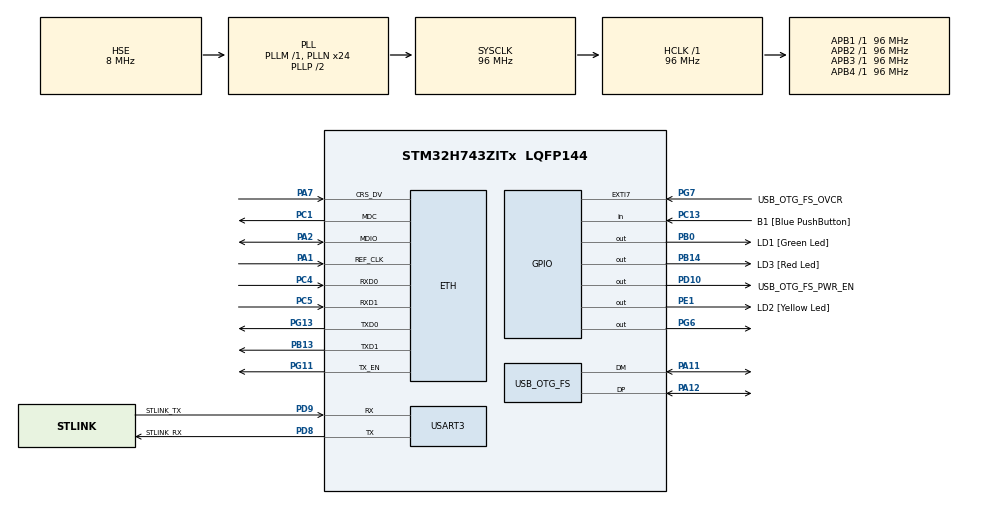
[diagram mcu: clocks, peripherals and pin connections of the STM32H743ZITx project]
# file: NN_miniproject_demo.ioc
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ETH.MediaInterface=HAL_ETH_RMII_MODE
Mcu.Family=STM32H7
Mcu.Name=STM32H743ZITx
Mcu.Package=LQFP144
NVIC.OTG_FS_IRQn=true\:0\:0\:false\:false\:true\:true\:true
NVIC.PriorityGroup=NVIC_PRIORITYGROUP_4
PA1.Mode=RMII
PA1.Signal=ETH_REF_CLK
PA11.GPIO_Speed=GPIO_SPEED_FREQ_VERY_HIGH
PA11.Mode=Host_Only
PA11.Signal=USB_OTG_FS_DM
PA12.GPIO_Speed=GPIO_SPEED_FREQ_VERY_HIGH
PA12.Mode=Host_Only
PA12.Signal=USB_OTG_FS_DP
PA2.Mode=RMII
PA2.Signal=ETH_MDIO
PA7.Mode=RMII
PA7.Signal=ETH_CRS_DV
PA8.Signal=USB_OTG_FS_SOF
PA9.Signal=USB_OTG_FS_VBUS
PB0.GPIO_Label=LD1 [Green Led]
PB0.Signal=GPIO_Output
PB13.Mode=RMII
PB13.Signal=ETH_TXD1
PB14.GPIO_Label=LD3 [Red Led]
PB14.Signal=GPIO_Output
PC1.Mode=RMII
PC1.Signal=ETH_MDC
PC13.GPIO_Label=B1 [Blue PushButton]
PC13.Signal=GPIO_Input
PC14-OSC32_IN\ (OSC32_IN).Mode=LSE-External-Oscillator
PC14-OSC32_IN\ (OSC32_IN).Signal=RCC_OSC32_IN
PC15-OSC32_OUT\ (OSC32_OUT).Mode=LSE-External-Oscillator
PC15-OSC32_OUT\ (OSC32_OUT).Signal=RCC_OSC32_OUT
PC4.Mode=RMII
PC4.Signal=ETH_RXD0
PC5.Mode=RMII
PC5.Signal=ETH_RXD1
PD10.GPIO_Label=USB_OTG_FS_PWR_EN
PD10.Signal=GPIO_Output
PD8.GPIO_Label=STLINK_RX
PD8.Mode=Asynchronous
PD8.Signal=USART3_TX
PD9.GPIO_Label=STLINK_TX
PD9.Mode=Asynchronous
PD9.Signal=USART3_RX
PE1.GPIO_Label=LD2 [Yellow Led]
PE1.Signal=GPIO_Output
PG11.Mode=RMII
PG11.Signal=ETH_TX_EN
PG13.Mode=RMII
PG13.Signal=ETH_TXD0
PG6.Signal=GPIO_Output
PG7.GPIO_Label=USB_OTG_FS_OVCR
PG7.Signal=GPXTI7
PH0-OSC_IN\ (PH0).Mode=HSE-External-Clock-Source
PH0-OSC_IN\ (PH0).Signal=RCC_OSC_IN
PH1-OSC_OUT\ (PH1).Signal=RCC_OSC_OUT
ProjectManager.HeapSize=0x128000
ProjectManager.StackSize=0x12000
ProjectManager.TargetToolchain=STM32CubeIDE
RCC.ADCFreq_Value=16125000
RCC.APB1Freq_Value=96000000
RCC.APB2Freq_Value=96000000
RCC.APB3Freq_Value=96000000
RCC.APB4Freq_Value=96000000
RCC.CortexFreq_Value=96000000
RCC.DIVM1=1
RCC.DIVN1=24
RCC.DIVQ1=4
RCC.HCLKFreq_Value=96000000
RCC.HSE_VALUE=8000000
RCC.PLLFRACN=0
RCC.SYSCLKFreq_VALUE=96000000
RCC.SYSCLKSource=RCC_SYSCLKSOURCE_PLLCLK
RCC.USBFreq_Value=48000000
USART3.VirtualMode-Asynchronous=VM_ASYNC
USB_HOST.BSP.number=1
USB_HOST.USBH_HandleTypeDef-MSC_FS=hUsbHostFS
USB_HOST.VirtualModeFS=Msc
USB_HOST0.BSP.STBoard=false
USB_HOST0.BSP.api=Unknown
USB_HOST0.BSP.i2caddr=0
USB_HOST0.BSP.instance=PG6
USB_HOST0.BSP.ip=GPIO
USB_HOST0.BSP.mode=Output
USB_HOST0.BSP.name=Drive_VBUS_FS
USB_HOST0.BSP.solution=PG6
USB_OTG_FS.VirtualMode=Host_Only
USB_OTG_FS.phy_itface=HCD_PHY_EMBEDDED
VP_FATFS_VS_USB.Mode=USB
VP_USB_HOST_VS_USB_HOST_MSC_FS.Mode=MSC_FS
board=NUCLEO-H743ZI2

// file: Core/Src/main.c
/* USER CODE BEGIN Header */
/**
  ******************************************************************************
  * @file           : main.c
  * @brief          : Main program body
  ******************************************************************************
  * @attention
  *
  * <h2><center>&copy; Copyright (c) 2020 STMicroelectronics.
  * All rights reserved.</center></h2>
  *
  * This software component is licensed by ST under BSD 3-Clause license,
  * the "License"; You may not use this file except in compliance with the
  * License. You may obtain a copy of the License at:
  *                        opensource.org/licenses/BSD-3-Clause
  *
  ******************************************************************************
  */
/* USER CODE END Header */
#include "main.h"
#include "string.h"
#include "fatfs.h"
#include "usb_host.h"

#if defined ( __ICCARM__ ) /*!< IAR Compiler */

#pragma location=0x30040000
ETH_DMADescTypeDef  DMARxDscrTab[ETH_RX_DESC_CNT]; /* Ethernet Rx DMA Descriptors */
#pragma location=0x30040060
ETH_DMADescTypeDef  DMATxDscrTab[ETH_TX_DESC_CNT]; /* Ethernet Tx DMA Descriptors */
#pragma location=0x30040200
uint8_t Rx_Buff[ETH_RX_DESC_CNT][ETH_MAX_PACKET_SIZE]; /* Ethernet Receive Buffers */

#elif defined ( __CC_ARM )  /* MDK ARM Compiler */

__attribute__((at(0x30040000))) ETH_DMADescTypeDef  DMARxDscrTab[ETH_RX_DESC_CNT]; /* Ethernet Rx DMA Descriptors */
__attribute__((at(0x30040060))) ETH_DMADescTypeDef  DMATxDscrTab[ETH_TX_DESC_CNT]; /* Ethernet Tx DMA Descriptors */
__attribute__((at(0x30040200))) uint8_t Rx_Buff[ETH_RX_DESC_CNT][ETH_MAX_PACKET_SIZE]; /* Ethernet Receive Buffer */

#elif defined ( __GNUC__ ) /* GNU Compiler */

ETH_DMADescTypeDef DMARxDscrTab[ETH_RX_DESC_CNT] __attribute__((section(".RxDecripSection"))); /* Ethernet Rx DMA Descriptors */
ETH_DMADescTypeDef DMATxDscrTab[ETH_TX_DESC_CNT] __attribute__((section(".TxDecripSection")));   /* Ethernet Tx DMA Descriptors */
uint8_t Rx_Buff[ETH_RX_DESC_CNT][ETH_MAX_PACKET_SIZE] __attribute__((section(".RxArraySection"))); /* Ethernet Receive Buffers */

#endif

ETH_TxPacketConfig TxConfig;

ETH_HandleTypeDef heth;

UART_HandleTypeDef huart3;

void SystemClock_Config(void);
static void MX_GPIO_Init(void);
static void MX_ETH_Init(void);
static void MX_USART3_UART_Init(void);
void MX_USB_HOST_Process(void);

/* USER CODE BEGIN 0 */
#include "cnn.h"
int file_ready = 0;
extern uint8_t rtext[8500]; // 32900 // 8500 //4000
extern uint8_t name[10];
float * out_img;
/* USER CODE END 0 */

int main(void)
{

  /* MCU Configuration--------------------------------------------------------*/

  /* Reset of all peripherals, Initializes the Flash interface and the Systick. */
  HAL_Init();

  /* Configure the system clock */
  SystemClock_Config();

  /* Initialize all configured peripherals */
  MX_GPIO_Init();
  MX_ETH_Init();
  MX_USART3_UART_Init();
  MX_FATFS_Init();
  MX_USB_HOST_Init();

  /* Infinite loop */
  while (1)
  {
    MX_USB_HOST_Process();

    /* USER CODE BEGIN 3 */
	sprintf(name,"test4.bmp"); //test4.bmp
    file_ready = 0;
    read_bmp(name);
    if(file_ready == 1){
		out_img = ProcessBmp(rtext);
		file_ready = 0;
	    break;
    }
  }

  int iHeight = rtext[22];
    int iWidth = rtext[18];
    int iChannel = 3;
    int pixelStart = rtext[10];

  	// allocate 3d for input
  	float*** input = (float***)malloc(iHeight * sizeof(float**));
  	for (int i = 0; i < iHeight; i++) {
  	  input[i] = (float**)malloc(iWidth * sizeof(float*));
  	}
  	for (int i = 0; i < iHeight; i++) {
  	  for (int j = 0; j < iWidth; j++) {
  		  input[i][j] = (float*)malloc(3 * sizeof(float));
  	  }
  	}

  	// set input[][][] values based on out_img

  	for(int k=0; k<3; k++) {
  	  for (int i = 0; i < iHeight; i++) {
  		  for (int j = 0; j < iWidth; j++) {
  			  int iIdx = (iHeight - 1) - i;
  			  int kIdx = (iChannel - 1) - k;
  			  input[i][j][k] = out_img[(((iIdx*iWidth)+j)*iChannel)+kIdx]/255.0;// ((i*iWidth+j)*iChannel)+k]; // /255.0
  		  }
  	   }
  	}

//  	free(out_img);

	float var1 = input[0][0][0];
	float var2 = input[0][1][0];
	float var3 = input[0][2][0];
	float var4 = input[1][0][0];
	float var5 = input[1][1][0];
	float var6 = input[1][2][0];
	float var7 = input[2][0][0];
	float var8 = input[2][1][0];
	float var9 = input[2][2][0];

	float var10 = out_img[0];
	float var20 = out_img[1];
	float var30 = out_img[2];
	float var40 = out_img[57];
	float var50 = out_img[58];
	float var60 = out_img[59];
	float var70 = out_img[6];
	float var80 = out_img[7];
	float var90 = out_img[8];

      /////////////////////////////////////////////////////////// e_conv1
      // read in parameters
      sprintf(name,"b1.txt");
      float * b1 = read_txt(name, 3);

      sprintf(name,"w1.txt");
      float * nw1 = read_txt(name, 9);

      int kDim = 1;
      int iDim = 3;
      int oDim = 3;
      int pSize = 0;

      // allocate 4d w1
      float**** w1 = (float****)malloc(kDim * sizeof(float***));
      for (int i = 0; i < kDim; i++) {
    	  w1[i] = (float***)malloc(kDim * sizeof(float**));
      }
      for (int i = 0; i < kDim; i++) {
    	  for (int j = 0; j < kDim; j++) {
    		  w1[i][j] = (float**)malloc(iDim * sizeof(float*));
    	  }
      }
      for (int i = 0; i < kDim; i++) {
      	  for (int j = 0; j < kDim; j++) {
      		  for(int k = 0; k < iDim; k++) {
      			  w1[i][j][k] = (float*)malloc(oDim * sizeof(float));
      		  }
      	  }
      }

      for (int j = 0; j < oDim; j++) {
    	  for (int i = 0; i < iDim; i++) {
    		  w1[0][0][i][j] = nw1[(j*3)+i];
    	  }
      }

      free(nw1);

      // allocate 3d x1
      float*** x1 = (float***)malloc(iHeight * sizeof(float**));
      for (int i = 0; i < iHeight; i++) {
    	  x1[i] = (float**)malloc(iWidth * sizeof(float*));
      }
      for (int i = 0; i < iHeight; i++) {
    	  for (int j = 0; j < iWidth; j++) {
    		  x1[i][j] = (float*)malloc(oDim * sizeof(float));
    	  }
      }

      conv(input, w1, b1, x1, iHeight, iWidth, kDim, iDim, oDim, pSize);

      // free(w1);
      for (int i = 0; i < kDim; i++) {
      	for (int j = 0; j < kDim; j++) {
      		  for(int k = 0; k < iDim; k++) {
      			  free(w1[i][j][k]);
      		  }
  		}
      }
      for (int i = 0; i < kDim; i++) {
    	  for (int j = 0; j < kDim; j++) {
    		  free(w1[i][j]);
    	  }
      }
      for (int i = 0; i < kDim; i++) {
      	free(w1[i]);
      }
      free(w1);

      free(b1);

      //free(input);
      for (int i = 0; i < iHeight; i++) {
    	  for (int j = 0; j < iWidth; j++) {
    		free(input[i][j]);
    	  }
      }
      for (int i = 0; i < iHeight; i++) {
      	free(input[i]);
      }
      free(input);

      /////////////////////////////////////////////////////////// e_conv2
      sprintf(name,"b2.txt");
      float * b2 = read_txt(name, 3);

      sprintf(name,"w2.txt");
      float * nw2 = read_txt(name, 81);

      kDim = 3;
      iDim = 3;
      oDim = 3;
      pSize = 1;

      // allocate 4d w2
      float**** w2 = (float****)malloc(kDim * sizeof(float***));
      for (int i = 0; i < kDim; i++) {
    	  w2[i] = (float***)malloc(kDim * sizeof(float**));
      }
      for (int i = 0; i < kDim; i++) {
    	  for (int j = 0; j < kDim; j++) {
    		  w2[i][j] = (float**)malloc(iDim * sizeof(float*));
    	  }
      }
      for (int i = 0; i < kDim; i++) {
      	  for (int j = 0; j < kDim; j++) {
      		  for(int k = 0; k < iDim; k++) {
      			  w2[i][j][k] = (float*)malloc(oDim * sizeof(float));
      		  }
      	  }
      }

      for(int i = 0; i < kDim; i++) {
    	  for (int j = 0; j < kDim; j++) {
    		  for (int v = 0; v < oDim; v++) {
    			  for(int u = 0; u < iDim; u++) {
    				  w2[i][j][u][v] = nw2[(i*kDim*oDim*iDim)+(j*oDim*iDim)+(v*iDim)+u];
    			  }
    		  }
    	  }
      }

      free(nw2);

      // allocate 3d x2
      float*** x2 = (float***)malloc(iHeight * sizeof(float**));
      for (int i = 0; i < iHeight; i++) {
    	  x2[i] = (float**)malloc(iWidth * sizeof(float*));
      }
      for (int i = 0; i < iHeight; i++) {
    	  for (int j = 0; j < iWidth; j++) {
    		  x2[i][j] = (float*)malloc(oDim * sizeof(float));
    	  }
      }

      conv(x1, w2, b2, x2, iHeight, iWidth, kDim, iDim, oDim, pSize);

      // free(w2);
      for (int i = 0; i < kDim; i++) {
      	for (int j = 0; j < kDim; j++) {
      		  for(int k = 0; k < iDim; k++) {
      			  free(w2[i][j][k]);
      		  }
  		}
      }
      for (int i = 0; i < kDim; i++) {
    	  for (int j = 0; j < kDim; j++) {
    		  free(w2[i][j]);
    	  }
      }
      for (int i = 0; i < kDim; i++) {
      	free(w2[i]);
      }
      free(w2);

      free(b2);

      /////////////////////////////////////////////////////////// e_conv3
      sprintf(name,"b3.txt");
      float * b3 = read_txt(name, 3);

      sprintf(name,"w3.txt");
      float * nw3 = read_txt(name, 450);

      // allocate 4d w3
      kDim = 5;
      iDim = 6;
      oDim = 3;
      pSize = 2;

      float**** w3 = (float****)malloc(kDim * sizeof(float***));
      for (int i = 0; i < kDim; i++) {
    	  w3[i] = (float***)malloc(kDim * sizeof(float**));
      }
      for (int i = 0; i < kDim; i++) {
    	  for (int j = 0; j < kDim; j++) {
    		  w3[i][j] = (float**)malloc(iDim * sizeof(float*));
    	  }
      }
      for (int i = 0; i < kDim; i++) {
      	  for (int j = 0; j < kDim; j++) {
      		  for(int k = 0; k < iDim; k++) {
      			  w3[i][j][k] = (float*)malloc(oDim * sizeof(float));
      		  }
      	  }
      }
      for(int i = 0; i < kDim; i++) {
    	  for (int j = 0; j < kDim; j++) {
    		  for (int v = 0; v < oDim; v++) {
    			  for(int u = 0; u < iDim; u++) {
    				  w3[i][j][u][v] = nw3[(i*kDim*oDim*iDim)+(j*oDim*iDim)+(v*iDim)+u];
    			  }
    		  }
    	  }
      }
      free(nw3);

      // allocate 3d x1x2
      float*** x1x2 = (float***)malloc(iHeight * sizeof(float**));
      for (int i = 0; i < iHeight; i++) {
    	  x1x2[i] = (float**)malloc(iWidth * sizeof(float*));
      }
      for (int i = 0; i < iHeight; i++) {
    	  for (int j = 0; j < iWidth; j++) {
    		  x1x2[i][j] = (float*)malloc(iDim * sizeof(float));
    	  }
      }

      for(int k=0; k<3; k++) {
    	  for(int i=0; i<iHeight; i++) {
    		  for(int j=0; j<iWidth; j++) {
    			  x1x2[i][j][k] = x1[i][j][k];
    		  }
    	  }
      }

      //free(x1);
  	for (int i = 0; i < iHeight; i++) {
  	  for (int j = 0; j < iWidth; j++) {
  		  free(x1[i][j]);
  	  }
  	}
  	for (int i = 0; i < iHeight; i++) {
  		free(x1[i]);
  	}
      free(x1);

      for(int k=3; k<6; k++) {
    	  for(int i=0; i<iHeight; i++) {
    		  for(int j=0; j<iWidth; j++) {
    			  x1x2[i][j][k] = x2[i][j][k-3];
    		  }
    	  }
      }

      //free(x2);
  	for (int i = 0; i < iHeight; i++) {
  	  for (int j = 0; j < iWidth; j++) {
  		  free(x2[i][j]);
  	  }
  	}
  	for (int i = 0; i < iHeight; i++) {
  		free(x2[i]);
  	}
      free(x2);

      // allocate 3d x3
      float*** x3 = (float***)malloc(iHeight * sizeof(float**));
      for (int i = 0; i < iHeight; i++) {
    	  x3[i] = (float**)malloc(iWidth * sizeof(float*));
      }
      for (int i = 0; i < iHeight; i++) {
    	  for (int j = 0; j < iWidth; j++) {
    		  x3[i][j] = (float*)malloc(oDim * sizeof(float));
    	  }
      }

      conv(x1x2, w3, b3, x3, iHeight, iWidth, kDim, iDim, oDim, pSize);

      //free(w3);
      for (int i = 0; i < kDim; i++) {
      	for (int j = 0; j < kDim; j++) {
      		  for(int k = 0; k < iDim; k++) {
      			  free(w3[i][j][k]);
      		  }
  		}
      }
      for (int i = 0; i < kDim; i++) {
    	  for (int j = 0; j < kDim; j++) {
    		  free(w3[i][j]);
    	  }
      }
      for (int i = 0; i < kDim; i++) {
      	free(w3[i]);
      }
      free(w3);

      free(b3);

      /////////////////////////////////////////////////////////// e_conv4
      sprintf(name,"b4.txt");
      float * b4 = read_txt(name, 3);

      sprintf(name,"w4.txt");
      float * nw4 = read_txt(name, 882);

      // allocate 4d w4
      kDim = 7;
      iDim = 6;
      oDim = 3;
      pSize = 3;

      float**** w4 = (float****)malloc(kDim * sizeof(float***));
      for (int i = 0; i < kDim; i++) {
    	  w4[i] = (float***)malloc(kDim * sizeof(float**));
      }
      for (int i = 0; i < kDim; i++) {
    	  for (int j = 0; j < kDim; j++) {
    		  w4[i][j] = (float**)malloc(iDim * sizeof(float*));
    	  }
      }
      for (int i = 0; i < kDim; i++) {
      	  for (int j = 0; j < kDim; j++) {
      		  for(int k = 0; k < iDim; k++) {
      			  w4[i][j][k] = (float*)malloc(oDim * sizeof(float));
      		  }
      	  }
      }

      for(int i = 0; i < kDim; i++) {
    	  for (int j = 0; j < kDim; j++) {
    		  for (int v = 0; v < oDim; v++) {
    			  for(int u = 0; u < iDim; u++) {
    				  w4[i][j][u][v] = nw4[(i*kDim*oDim*iDim)+(j*oDim*iDim)+(v*iDim)+u];
    			  }
    		  }
    	  }
      }

      free(nw4);

      // allocate 3d x1
      float*** x1V2 = (float***)malloc(iHeight * sizeof(float**));
      for (int i = 0; i < iHeight; i++) {
    	  x1V2[i] = (float**)malloc(iWidth * sizeof(float*));
      }
      for (int i = 0; i < iHeight; i++) {
    	  for (int j = 0; j < iWidth; j++) {
    		  x1V2[i][j] = (float*)malloc(iDim * sizeof(float));
    	  }
      }

      for(int k=0; k<iDim; k++) {
    	  for(int i=0; i<iHeight; i++) {
    		  for(int j=0; j<iWidth; j++) {
    			  x1V2[i][j][k] = x1x2[i][j][k];
    		  }
    	  }
      }

      //////////////////////////////////////////////////////////////////////////////////////////////////////////// 5_1 in place operation
      int kDim_5 = 3;
	  int iDim_5 = 12;
	  int oDim_5 = 3;
	  int pSize_5 = 1;
	  int iDim_w_5 = 3;

	  sprintf(name,"w5_1.txt");
	  float * nw5_1 = read_txt(name, 81);

	  // allocate 4d w5_1
	  float**** w5_1 = (float****)malloc(kDim_5 * sizeof(float***));
	  for (int i = 0; i < kDim_5; i++) {
		  w5_1[i] = (float***)malloc(kDim_5 * sizeof(float**));
	  }
	  for (int i = 0; i < kDim_5; i++) {
		  for (int j = 0; j < kDim_5; j++) {
			  w5_1[i][j] = (float**)malloc(iDim_w_5 * sizeof(float*));
		  }
	  }
	  for (int i = 0; i < kDim_5; i++) {
		  for (int j = 0; j < kDim_5; j++) {
			  for(int k = 0; k < iDim_w_5; k++) {
				  w5_1[i][j][k] = (float*)malloc(oDim_5 * sizeof(float));
			  }
		  }
	  }
	  for(int i = 0; i < kDim_5; i++) {
		  for (int j = 0; j < kDim_5; j++) {
			  for (int v = 0; v < oDim_5; v++) {
				  for(int u = 0; u < iDim_w_5; u++) {
					  w5_1[i][j][u][v] = nw5_1[(i*kDim_5*oDim_5*iDim_w_5)+(j*oDim_5*iDim_w_5)+(v*iDim_w_5)+u];
				  }
			  }
		  }
	  }
	  free(nw5_1);

	  convInPlace(x1V2, w5_1, iHeight, iWidth, kDim_5, iDim_w_5, oDim_5, pSize_5);

	  //free(w5_1);
	  for (int i = 0; i < kDim_5; i++) {
		  for (int j = 0; j < kDim_5; j++) {
			  	  for(int k = 0; k < iDim_w_5; k++) {
	    			  free(w5_1[i][j][k]);
	    		  }
			}
	  }
	  for (int i = 0; i < kDim_5; i++) {
	  	  for (int j = 0; j < kDim_5; j++) {
	  		  free(w5_1[i][j]);
	  	  }
	  }
	  for (int i = 0; i < kDim_5; i++) {
		  free(w5_1[i]);
	  }
	  free(w5_1);
	  ////////////////////////////////////////////////////////////////////////////////////////////////////////////

      // allocate 3d x2x3
      float*** x2x3 = (float***)malloc(iHeight * sizeof(float**));
      for (int i = 0; i < iHeight; i++) {
    	  x2x3[i] = (float**)malloc(iWidth * sizeof(float*));
      }
      for (int i = 0; i < iHeight; i++) {
    	  for (int j = 0; j < iWidth; j++) {
    		  x2x3[i][j] = (float*)malloc(iDim * sizeof(float));
    	  }
      }

      for(int k=0; k<3; k++) {
    	  for(int i=0; i<iHeight; i++) {
    		  for(int j=0; j<iWidth; j++) {
    			  x2x3[i][j][k] = x1x2[i][j][k+3];
    		  }
    	  }
      }

      //free(x1x2);
      for (int i = 0; i < iHeight; i++) {
    	  for (int j = 0; j < iWidth; j++) {
    		free(x1x2[i][j]);
    	  }
      }
      for (int i = 0; i < iHeight; i++) {
      	free(x1x2[i]);
      }
      free(x1x2);

      for(int k=3; k<6; k++) {
    	  for(int i=0; i<iHeight; i++) {
    		  for(int j=0; j<iWidth; j++) {
    			  x2x3[i][j][k] = x3[i][j][k-3];
    		  }
    	  }
      }

	  //////////////////////////////////////////////////////////////////////////////////////////////////////////// 5_3 "Add" operation

	 	  sprintf(name,"w5_3.txt");
	 	  float * nw5_3 = read_txt(name, 81);

	 	  // allocate 4d w5_2
	 	  float**** w5_3 = (float****)malloc(kDim_5 * sizeof(float***));
	 	  for (int i = 0; i < kDim_5; i++) {
	 		 w5_3[i] = (float***)malloc(kDim_5 * sizeof(float**));
	 	  }
	 	  for (int i = 0; i < kDim_5; i++) {
	 		  for (int j = 0; j < kDim_5; j++) {
	 			 w5_3[i][j] = (float**)malloc(iDim_w_5 * sizeof(float*));
	 		  }
	 	  }
	 	  for (int i = 0; i < kDim_5; i++) {
	 		  for (int j = 0; j < kDim_5; j++) {
	 			  for(int k = 0; k < iDim_w_5; k++) {
	 				 w5_3[i][j][k] = (float*)malloc(oDim_5 * sizeof(float));
	 			  }
	 		  }
	 	  }
	 	  for(int i = 0; i < kDim_5; i++) {
	 		  for (int j = 0; j < kDim_5; j++) {
	 			  for (int v = 0; v < oDim_5; v++) {
	 				  for(int u = 0; u < iDim_w_5; u++) {
	 					 w5_3[i][j][u][v] = nw5_3[(i*kDim_5*oDim_5*iDim_w_5)+(j*oDim_5*iDim_w_5)+(v*iDim_w_5)+u];
	 				  }
	 			  }
	 		  }
	 	  }
	 	  free(nw5_3);

	 	  convAdd(x3, w5_3, x1V2, iHeight, iWidth, kDim_5, iDim_w_5, oDim_5, pSize_5);

	      //free(x3);
	      for (int i = 0; i < iHeight; i++) {
	    	  for (int j = 0; j < iWidth; j++) {
	    		free(x3[i][j]);
	    	  }
	      }
	      for (int i = 0; i < iHeight; i++) {
	      	free(x3[i]);
	      }
	      free(x3);

	 	  //free(w5_3);
	 	  for (int i = 0; i < kDim_5; i++) {
	 		  for (int j = 0; j < kDim_5; j++) {
	 			  	  for(int k = 0; k < iDim_w_5; k++) {
	 	    			  free(w5_3[i][j][k]);
	 	    		  }
	 			}
	 	  }
	 	  for (int i = 0; i < kDim_5; i++) {
	 	  	  for (int j = 0; j < kDim_5; j++) {
	 	  		  free(w5_3[i][j]);
	 	  	  }
	 	  }
	 	  for (int i = 0; i < kDim_5; i++) {
	 		  free(w5_3[i]);
	 	  }
	 	  free(w5_3);

	 	  ////////////////////////////////////////////////////////////////////////////////////////////////////////////

      // allocate 3d x4
      float*** x4 = (float***)malloc(iHeight * sizeof(float**));
      for (int i = 0; i < iHeight; i++) {
    	  x4[i] = (float**)malloc(iWidth * sizeof(float*));
      }
      for (int i = 0; i < iHeight; i++) {
    	  for (int j = 0; j < iWidth; j++) {
    		  x4[i][j] = (float*)malloc(oDim * sizeof(float));
    	  }
      }

      conv(x2x3, w4, b4, x4, iHeight, iWidth, kDim, iDim, oDim, pSize);

      // free(w4);
      for (int i = 0; i < kDim; i++) {
      	for (int j = 0; j < kDim; j++) {
      		  for(int k = 0; k < iDim; k++) {
      			  free(w4[i][j][k]);
      		  }
  		}
      }
      for (int i = 0; i < kDim; i++) {
    	  for (int j = 0; j < kDim; j++) {
    		  free(w4[i][j]);
    	  }
      }
      for (int i = 0; i < kDim; i++) {
      	free(w4[i]);
      }
      free(w4);

      free(b4);

      /////////////////////////////////////////////////////////// e_conv5

      //////////////////////////////////////////////////////////////////////////////////////////////////////////// 5_2 "Add" operation

      // allocate 3d x2V2
      float*** x2V2 = (float***)malloc(iHeight * sizeof(float**));
      for (int i = 0; i < iHeight; i++) {
    	  x2V2[i] = (float**)malloc(iWidth * sizeof(float*));
      }
      for (int i = 0; i < iHeight; i++) {
    	  for (int j = 0; j < iWidth; j++) {
    		  x2V2[i][j] = (float*)malloc(oDim * sizeof(float));
    	  }
      }

      for(int k=0; k<oDim; k++) {
    	  for(int i=0; i<iHeight; i++) {
    		  for(int j=0; j<iWidth; j++) {
    			  x2V2[i][j][k] = x2x3[i][j][k];
    		  }
    	  }
      }

      //free x2x3
      for (int i = 0; i < iHeight; i++) {
    	  for (int j = 0; j < iWidth; j++) {
    		free(x2x3[i][j]);
    	  }
      }
      for (int i = 0; i < iHeight; i++) {
      	free(x2x3[i]);
      }
      free(x2x3);

      sprintf(name,"w5_2.txt");
	  float * nw5_2 = read_txt(name, 81);

	  // allocate 4d w5_2
	  float**** w5_2 = (float****)malloc(kDim_5 * sizeof(float***));
	  for (int i = 0; i < kDim_5; i++) {
		  w5_2[i] = (float***)malloc(kDim_5 * sizeof(float**));
	  }
	  for (int i = 0; i < kDim_5; i++) {
		  for (int j = 0; j < kDim_5; j++) {
			  w5_2[i][j] = (float**)malloc(iDim_w_5 * sizeof(float*));
		  }
	  }
	  for (int i = 0; i < kDim_5; i++) {
		  for (int j = 0; j < kDim_5; j++) {
			  for(int k = 0; k < iDim_w_5; k++) {
				  w5_2[i][j][k] = (float*)malloc(oDim_5 * sizeof(float));
			  }
		  }
	  }
	  for(int i = 0; i < kDim_5; i++) {
		  for (int j = 0; j < kDim_5; j++) {
			  for (int v = 0; v < oDim_5; v++) {
				  for(int u = 0; u < iDim_w_5; u++) {
					  w5_2[i][j][u][v] = nw5_2[(i*kDim_5*oDim_5*iDim_w_5)+(j*oDim_5*iDim_w_5)+(v*iDim_w_5)+u];
				  }
			  }
		  }
	  }
	  free(nw5_2);

	  convAdd(x2V2, w5_2, x1V2, iHeight, iWidth, kDim_5, iDim_w_5, oDim_5, pSize_5);

	  //free(x2V2);
	  for (int i = 0; i < iHeight; i++) {
		  for (int j = 0; j < iWidth; j++) {
			free(x2V2[i][j]);
		  }
	  }
	  for (int i = 0; i < iHeight; i++) {
		free(x2V2[i]);
	  }
	  free(x2V2);

	  //free(w5_2);
	  for (int i = 0; i < kDim_5; i++) {
		  for (int j = 0; j < kDim_5; j++) {
				  for(int k = 0; k < iDim_w_5; k++) {
					  free(w5_2[i][j][k]);
				  }
			}
	  }
	  for (int i = 0; i < kDim_5; i++) {
		  for (int j = 0; j < kDim_5; j++) {
			  free(w5_2[i][j]);
		  }
	  }
	  for (int i = 0; i < kDim_5; i++) {
		  free(w5_2[i]);
	  }
	  free(w5_2);

	  ////////////////////////////////////////////////////////////////////////////////////////////////////////////

	  //////////////////////////////////////////////////////////////////////////////////////////////////////////// 5_4 "Add" operation

	  sprintf(name,"w5_4.txt");
	  float * nw5_4 = read_txt(name, 81);

	  // allocate 4d w5_4
	  float**** w5_4 = (float****)malloc(kDim_5 * sizeof(float***));
	  for (int i = 0; i < kDim_5; i++) {
		  w5_4[i] = (float***)malloc(kDim_5 * sizeof(float**));
	  }
	  for (int i = 0; i < kDim_5; i++) {
		  for (int j = 0; j < kDim_5; j++) {
			  w5_4[i][j] = (float**)malloc(iDim_w_5 * sizeof(float*));
		  }
	  }
	  for (int i = 0; i < kDim_5; i++) {
		  for (int j = 0; j < kDim_5; j++) {
			  for(int k = 0; k < iDim_w_5; k++) {
				  w5_4[i][j][k] = (float*)malloc(oDim_5 * sizeof(float));
			  }
		  }
	  }
	  for(int i = 0; i < kDim_5; i++) {
		  for (int j = 0; j < kDim_5; j++) {
			  for (int v = 0; v < oDim_5; v++) {
				  for(int u = 0; u < iDim_w_5; u++) {
					  w5_4[i][j][u][v] = nw5_4[(i*kDim_5*oDim_5*iDim_w_5)+(j*oDim_5*iDim_w_5)+(v*iDim_w_5)+u];
				  }
			  }
		  }
	  }
	  free(nw5_4);

	  convAdd(x4, w5_4, x1V2, iHeight, iWidth, kDim_5, iDim_w_5, oDim_5, pSize_5);

      //free(x4);
      for (int i = 0; i < iHeight; i++) {
    	  for (int j = 0; j < iWidth; j++) {
    		free(x4[i][j]);
    	  }
      }
      for (int i = 0; i < iHeight; i++) {
      	free(x4[i]);
      }
      free(x4);

	  //free(w5_4);
	  for (int i = 0; i < kDim_5; i++) {
		  for (int j = 0; j < kDim_5; j++) {
			  	  for(int k = 0; k < iDim_w_5; k++) {
	    			  free(w5_4[i][j][k]);
	    		  }
			}
	  }
	  for (int i = 0; i < kDim_5; i++) {
	  	  for (int j = 0; j < kDim_5; j++) {
	  		  free(w5_4[i][j]);
	  	  }
	  }
	  for (int i = 0; i < kDim_5; i++) {
		  free(w5_4[i]);
	  }
	  free(w5_4);

      sprintf(name,"b5.txt");
      float * b5 = read_txt(name, 3);

      reluInPlace(x1V2, b5, iHeight, iWidth, oDim);

      free(b5);

//	float var1 = x1V2[0][0][0];
//	float var2 = x1V2[0][1][0];
//	float var3 = x1V2[0][2][0];
//	float var4 = x1V2[1][0][0];
//	float var5 = x1V2[1][1][0];
//	float var6 = x1V2[1][2][0];
//	float var7 = x1V2[2][0][0];
//	float var8 = x1V2[2][1][0];
//	float var9 = x1V2[2][2][0];

      /////////////////////////////////////////////////////////////////////////// estimate

	float * out_img2;

	while (1)
	  {
	    /* USER CODE END WHILE */
	    MX_USB_HOST_Process();

	    /* USER CODE BEGIN 3 */
		sprintf(name,"test4.bmp"); //test4.bmp
	    file_ready = 0;
	    read_bmp(name);
	    if(file_ready == 1){
			out_img2 = ProcessBmp(rtext);
			file_ready = 0;
		    break;
	    }
	  }

  	// allocate 3d for input2
  	float*** input2 = (float***)malloc(iHeight * sizeof(float**));
  	for (int i = 0; i < iHeight; i++) {
  		input2[i] = (float**)malloc(iWidth * sizeof(float*));
  	}
  	for (int i = 0; i < iHeight; i++) {
  	  for (int j = 0; j < iWidth; j++) {
  		  input2[i][j] = (float*)malloc(3 * sizeof(float));
  	  }
  	}

  	// set input2[][][] values based on out_img2
  	for(int k=0; k<3; k++) {
  	  for (int i = 0; i < iHeight; i++) {
  		  for (int j = 0; j < iWidth; j++) {
  			  int iIdx = (iHeight - 1) - i;
  			  int kIdx = (iChannel - 1) - k;
  			  input2[i][j][k] = out_img2[(((iIdx*iWidth)+j)*iChannel)+kIdx]/255.0;// ((i*iWidth+j)*iChannel)+k]; // /255.0
  		  }
  	   }
  	}

  	free(out_img2);

//	float var1 = input2[0][0][0];
//	float var2 = input2[0][1][0];
//	float var3 = input2[0][2][0];
//	float var4 = input2[1][0][0];
//	float var5 = input2[1][1][0];
//	float var6 = input2[1][2][0];
//	float var7 = input2[2][0][0];
//	float var8 = input2[2][1][0];
//	float var9 = input2[2][2][0];

      estResult(input2, x1V2, iHeight, iWidth);

      //free(input2);
      for (int i = 0; i < iHeight; i++) {
    	  for (int j = 0; j < iWidth; j++) {
    		free(input2[i][j]);
    	  }
      }
      for (int i = 0; i < iHeight; i++) {
      	free(input2[i]);
      }
      free(input2);

      // save result
//	float var1 = x1V2[0][0][0];
//	float var2 = x1V2[0][1][0];
//	float var3 = x1V2[0][2][0];
//	float var4 = x1V2[1][0][0];
//	float var5 = x1V2[1][1][0];
//	float var6 = x1V2[1][2][0];
//	float var7 = x1V2[2][0][0];
//	float var8 = x1V2[2][1][0];
//	float var9 = x1V2[2][2][0];

	int length = iHeight * iWidth * iChannel;

	uint8_t * in_img = (uint8_t*)malloc(length * sizeof(uint8_t));

	for(int k=0; k<3; k++) {
		for (int i = 0; i < iHeight; i++) {
			for (int j = 0; j < iWidth; j++) {
				int iIdx = (iHeight - 1) - i;
				int kIdx = (iChannel - 1) - k;
				float temp = (x1V2[i][j][k] * 255.0);
				in_img[(((iIdx*iWidth)+j)*iChannel)+kIdx] = (uint8_t) temp;// ((i*iWidth+j)*iChannel)+k]; // /255.0
			}
		}
	}

	//free(x1V2);
	for (int i = 0; i < iHeight; i++) {
		  for (int j = 0; j < iWidth; j++) {
			free(x1V2[i][j]);
		  }
	}
	for (int i = 0; i < iHeight; i++) {
			free(x1V2[i]);
	}
	free(x1V2);

	for(int i=0; i<length; i++) {
		int idx = i + pixelStart;
		rtext[idx] = in_img[i];
	}

	free(in_img);

	while (1)
	{

		MX_USB_HOST_Process();

		sprintf(name,"De4.bmp"); //test4.bmp
		file_ready = 0;
		write_bmp(name);
		if(file_ready == 1){
			break;
		}
	}

    while(1);
  /* USER CODE END 3 */
}

void SystemClock_Config(void)
{
  RCC_OscInitTypeDef RCC_OscInitStruct = {0};
  RCC_ClkInitTypeDef RCC_ClkInitStruct = {0};
  RCC_PeriphCLKInitTypeDef PeriphClkInitStruct = {0};

  /** Supply configuration update enable
  */
  HAL_PWREx_ConfigSupply(PWR_LDO_SUPPLY);
  /** Configure the main internal regulator output voltage
  */
  __HAL_PWR_VOLTAGESCALING_CONFIG(PWR_REGULATOR_VOLTAGE_SCALE3);

  while(!__HAL_PWR_GET_FLAG(PWR_FLAG_VOSRDY)) {}
  /** Initializes the RCC Oscillators according to the specified parameters
  * in the RCC_OscInitTypeDef structure.
  */
  RCC_OscInitStruct.OscillatorType = RCC_OSCILLATORTYPE_HSE;
  RCC_OscInitStruct.HSEState = RCC_HSE_BYPASS;
  RCC_OscInitStruct.PLL.PLLState = RCC_PLL_ON;
  RCC_OscInitStruct.PLL.PLLSource = RCC_PLLSOURCE_HSE;
  RCC_OscInitStruct.PLL.PLLM = 1;
  RCC_OscInitStruct.PLL.PLLN = 24;
  RCC_OscInitStruct.PLL.PLLP = 2;
  RCC_OscInitStruct.PLL.PLLQ = 4;
  RCC_OscInitStruct.PLL.PLLR = 2;
  RCC_OscInitStruct.PLL.PLLRGE = RCC_PLL1VCIRANGE_3;
  RCC_OscInitStruct.PLL.PLLVCOSEL = RCC_PLL1VCOWIDE;
  RCC_OscInitStruct.PLL.PLLFRACN = 0;
  if (HAL_RCC_OscConfig(&RCC_OscInitStruct) != HAL_OK)
  {
    Error_Handler();
  }
  /** Initializes the CPU, AHB and APB buses clocks
  */
  RCC_ClkInitStruct.ClockType = RCC_CLOCKTYPE_HCLK|RCC_CLOCKTYPE_SYSCLK
                              |RCC_CLOCKTYPE_PCLK1|RCC_CLOCKTYPE_PCLK2
                              |RCC_CLOCKTYPE_D3PCLK1|RCC_CLOCKTYPE_D1PCLK1;
  RCC_ClkInitStruct.SYSCLKSource = RCC_SYSCLKSOURCE_PLLCLK;
  RCC_ClkInitStruct.SYSCLKDivider = RCC_SYSCLK_DIV1;
  RCC_ClkInitStruct.AHBCLKDivider = RCC_HCLK_DIV1;
  RCC_ClkInitStruct.APB3CLKDivider = RCC_APB3_DIV1;
  RCC_ClkInitStruct.APB1CLKDivider = RCC_APB1_DIV1;
  RCC_ClkInitStruct.APB2CLKDivider = RCC_APB2_DIV1;
  RCC_ClkInitStruct.APB4CLKDivider = RCC_APB4_DIV1;

  if (HAL_RCC_ClockConfig(&RCC_ClkInitStruct, FLASH_LATENCY_1) != HAL_OK)
  {
    Error_Handler();
  }
  PeriphClkInitStruct.PeriphClockSelection = RCC_PERIPHCLK_USART3|RCC_PERIPHCLK_USB;
  PeriphClkInitStruct.Usart234578ClockSelection = RCC_USART234578CLKSOURCE_D2PCLK1;
  PeriphClkInitStruct.UsbClockSelection = RCC_USBCLKSOURCE_PLL;
  if (HAL_RCCEx_PeriphCLKConfig(&PeriphClkInitStruct) != HAL_OK)
  {
    Error_Handler();
  }
  /** Enable USB Voltage detector
  */
  HAL_PWREx_EnableUSBVoltageDetector();
}

static void MX_ETH_Init(void)
{

  heth.Instance = ETH;
  heth.Init.MACAddr[0] =   0x00;
  heth.Init.MACAddr[1] =   0x80;
  heth.Init.MACAddr[2] =   0xE1;
  heth.Init.MACAddr[3] =   0x00;
  heth.Init.MACAddr[4] =   0x00;
  heth.Init.MACAddr[5] =   0x00;
  heth.Init.MediaInterface = HAL_ETH_RMII_MODE;
  heth.Init.TxDesc = DMATxDscrTab;
  heth.Init.RxDesc = DMARxDscrTab;
  heth.Init.RxBuffLen = 1524;

  if (HAL_ETH_Init(&heth) != HAL_OK)
  {
    Error_Handler();
  }

  memset(&TxConfig, 0 , sizeof(ETH_TxPacketConfig));
  TxConfig.Attributes = ETH_TX_PACKETS_FEATURES_CSUM | ETH_TX_PACKETS_FEATURES_CRCPAD;
  TxConfig.ChecksumCtrl = ETH_CHECKSUM_IPHDR_PAYLOAD_INSERT_PHDR_CALC;
  TxConfig.CRCPadCtrl = ETH_CRC_PAD_INSERT;

}

static void MX_USART3_UART_Init(void)
{

  huart3.Instance = USART3;
  huart3.Init.BaudRate = 115200;
  huart3.Init.WordLength = UART_WORDLENGTH_8B;
  huart3.Init.StopBits = UART_STOPBITS_1;
  huart3.Init.Parity = UART_PARITY_NONE;
  huart3.Init.Mode = UART_MODE_TX_RX;
  huart3.Init.HwFlowCtl = UART_HWCONTROL_NONE;
  huart3.Init.OverSampling = UART_OVERSAMPLING_16;
  huart3.Init.OneBitSampling = UART_ONE_BIT_SAMPLE_DISABLE;
  huart3.Init.ClockPrescaler = UART_PRESCALER_DIV1;
  huart3.AdvancedInit.AdvFeatureInit = UART_ADVFEATURE_NO_INIT;
  if (HAL_UART_Init(&huart3) != HAL_OK)
  {
    Error_Handler();
  }
  if (HAL_UARTEx_SetTxFifoThreshold(&huart3, UART_TXFIFO_THRESHOLD_1_8) != HAL_OK)
  {
    Error_Handler();
  }
  if (HAL_UARTEx_SetRxFifoThreshold(&huart3, UART_RXFIFO_THRESHOLD_1_8) != HAL_OK)
  {
    Error_Handler();
  }
  if (HAL_UARTEx_DisableFifoMode(&huart3) != HAL_OK)
  {
    Error_Handler();
  }

}

static void MX_GPIO_Init(void)
{
  GPIO_InitTypeDef GPIO_InitStruct = {0};

  /* GPIO Ports Clock Enable */
  __HAL_RCC_GPIOC_CLK_ENABLE();
  __HAL_RCC_GPIOH_CLK_ENABLE();
  __HAL_RCC_GPIOA_CLK_ENABLE();
  __HAL_RCC_GPIOB_CLK_ENABLE();
  __HAL_RCC_GPIOD_CLK_ENABLE();
  __HAL_RCC_GPIOG_CLK_ENABLE();
  __HAL_RCC_GPIOE_CLK_ENABLE();

  /*Configure GPIO pin Output Level */
  HAL_GPIO_WritePin(GPIOB, LD1_Pin|LD3_Pin, GPIO_PIN_RESET);

  /*Configure GPIO pin Output Level */
  HAL_GPIO_WritePin(USB_OTG_FS_PWR_EN_GPIO_Port, USB_OTG_FS_PWR_EN_Pin, GPIO_PIN_RESET);

  /*Configure GPIO pin Output Level */
  HAL_GPIO_WritePin(GPIOG, GPIO_PIN_6, GPIO_PIN_RESET);

  /*Configure GPIO pin Output Level */
  HAL_GPIO_WritePin(LD2_GPIO_Port, LD2_Pin, GPIO_PIN_RESET);

  /*Configure GPIO pin : B1_Pin */
  GPIO_InitStruct.Pin = B1_Pin;
  GPIO_InitStruct.Mode = GPIO_MODE_INPUT;
  GPIO_InitStruct.Pull = GPIO_NOPULL;
  HAL_GPIO_Init(B1_GPIO_Port, &GPIO_InitStruct);

  /*Configure GPIO pins : LD1_Pin LD3_Pin */
  GPIO_InitStruct.Pin = LD1_Pin|LD3_Pin;
  GPIO_InitStruct.Mode = GPIO_MODE_OUTPUT_PP;
  GPIO_InitStruct.Pull = GPIO_NOPULL;
  GPIO_InitStruct.Speed = GPIO_SPEED_FREQ_LOW;
  HAL_GPIO_Init(GPIOB, &GPIO_InitStruct);

  /*Configure GPIO pin : USB_OTG_FS_PWR_EN_Pin */
  GPIO_InitStruct.Pin = USB_OTG_FS_PWR_EN_Pin;
  GPIO_InitStruct.Mode = GPIO_MODE_OUTPUT_PP;
  GPIO_InitStruct.Pull = GPIO_NOPULL;
  GPIO_InitStruct.Speed = GPIO_SPEED_FREQ_LOW;
  HAL_GPIO_Init(USB_OTG_FS_PWR_EN_GPIO_Port, &GPIO_InitStruct);

  /*Configure GPIO pin : PG6 */
  GPIO_InitStruct.Pin = GPIO_PIN_6;
  GPIO_InitStruct.Mode = GPIO_MODE_OUTPUT_PP;
  GPIO_InitStruct.Pull = GPIO_NOPULL;
  GPIO_InitStruct.Speed = GPIO_SPEED_FREQ_LOW;
  HAL_GPIO_Init(GPIOG, &GPIO_InitStruct);

  /*Configure GPIO pin : USB_OTG_FS_OVCR_Pin */
  GPIO_InitStruct.Pin = USB_OTG_FS_OVCR_Pin;
  GPIO_InitStruct.Mode = GPIO_MODE_IT_RISING;
  GPIO_InitStruct.Pull = GPIO_NOPULL;
  HAL_GPIO_Init(USB_OTG_FS_OVCR_GPIO_Port, &GPIO_InitStruct);

  /*Configure GPIO pin : LD2_Pin */
  GPIO_InitStruct.Pin = LD2_Pin;
  GPIO_InitStruct.Mode = GPIO_MODE_OUTPUT_PP;
  GPIO_InitStruct.Pull = GPIO_NOPULL;
  GPIO_InitStruct.Speed = GPIO_SPEED_FREQ_LOW;
  HAL_GPIO_Init(LD2_GPIO_Port, &GPIO_InitStruct);

}

/* USER CODE BEGIN 4 */
int _write(int file, char *ptr, int len)
{
  /* Implement your write code here, this is used by puts and printf for example */
  int i=0;
  for(i=0 ; i<len ; i++)
    ITM_SendChar((*ptr++));
  return len;
}
/* USER CODE END 4 */

void Error_Handler(void)
{
  /* USER CODE BEGIN Error_Handler_Debug */
  /* User can add his own implementation to report the HAL error return state */
  HAL_GPIO_WritePin(GPIOB, LD3_Pin, GPIO_PIN_SET);
  /* USER CODE END Error_Handler_Debug */
}

/************************ (C) COPYRIGHT STMicroelectronics *****END OF FILE****/
